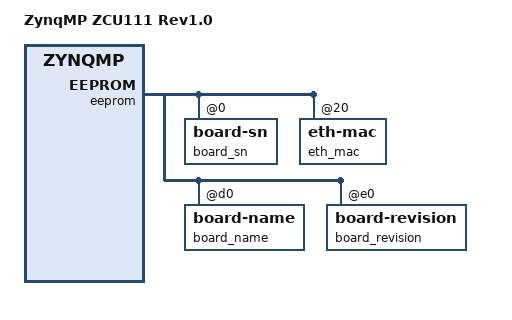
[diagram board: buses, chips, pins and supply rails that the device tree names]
// SPDX-License-Identifier: GPL-2.0+

#include "zynqmp-zcu111-revA.dts"

/ {
	model = "ZynqMP ZCU111 Rev1.0";
	compatible = "xlnx,zynqmp-zcu111-rev1.0", "xlnx,zynqmp-zcu111", "xlnx,zynqmp";
};

&eeprom {
	#address-cells = <1>;
	#size-cells = <1>;

	board_sn: board-sn@0 {
		reg = <0x0 0x14>;
	};

	eth_mac: eth-mac@20 {
		reg = <0x20 0x6>;
	};

	board_name: board-name@d0 {
		reg = <0xd0 0x6>;
	};

	board_revision: board-revision@e0 {
		reg = <0xe0 0x3>;
	};
};
